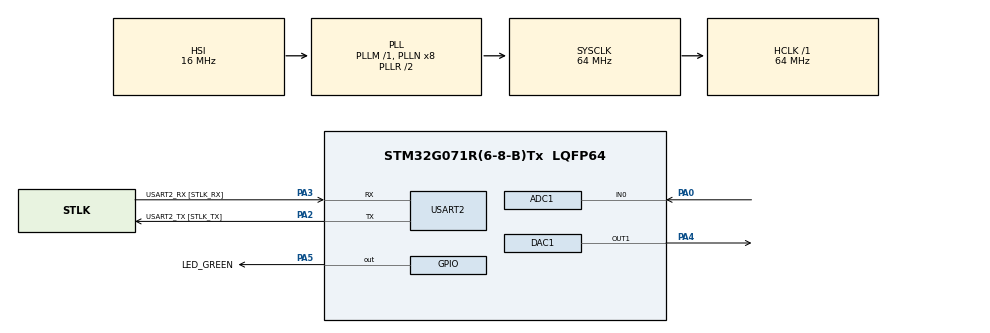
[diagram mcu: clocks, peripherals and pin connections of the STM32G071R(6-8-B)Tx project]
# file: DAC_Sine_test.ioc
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ADC1.Channel-0\#ChannelRegularConversion=ADC_CHANNEL_0
ADC1.ContinuousConvMode=DISABLE
ADC1.DMAContinuousRequests=ENABLE
ADC1.ExternalTrigConv=ADC_EXTERNALTRIG_T2_TRGO
ADC1.NbrOfConversionFlag=1
ADC1.Rank-0\#ChannelRegularConversion=1
ADC1.SamplingTime-0\#ChannelRegularConversion=ADC_SAMPLINGTIME_COMMON_1
ADC1.SamplingTimeCommon1=ADC_SAMPLETIME_160CYCLES_5
ADC1.SelectedChannel=ADC_CHANNEL_0
ADC1.master=1
DAC1.DAC_Channel-DAC_OUT1=DAC_CHANNEL_1
DAC1.DAC_Trigger-DAC_OUT1=DAC_TRIGGER_T2_TRGO
Dma.ADC1.1.Direction=DMA_PERIPH_TO_MEMORY
Dma.ADC1.1.EventEnable=DISABLE
Dma.ADC1.1.Instance=DMA1_Channel2
Dma.ADC1.1.MemDataAlignment=DMA_MDATAALIGN_HALFWORD
Dma.ADC1.1.MemInc=DMA_MINC_ENABLE
Dma.ADC1.1.Mode=DMA_CIRCULAR
Dma.ADC1.1.PeriphDataAlignment=DMA_PDATAALIGN_HALFWORD
Dma.ADC1.1.PeriphInc=DMA_PINC_DISABLE
Dma.ADC1.1.Polarity=HAL_DMAMUX_REQ_GEN_RISING
Dma.ADC1.1.Priority=DMA_PRIORITY_HIGH
Dma.ADC1.1.RequestNumber=1
Dma.ADC1.1.SignalID=NONE
Dma.ADC1.1.SyncEnable=DISABLE
Dma.ADC1.1.SyncPolarity=HAL_DMAMUX_SYNC_NO_EVENT
Dma.ADC1.1.SyncRequestNumber=1
Dma.ADC1.1.SyncSignalID=NONE
Dma.DAC1_CH1.0.Direction=DMA_MEMORY_TO_PERIPH
Dma.DAC1_CH1.0.EventEnable=DISABLE
Dma.DAC1_CH1.0.Instance=DMA1_Channel1
Dma.DAC1_CH1.0.MemDataAlignment=DMA_MDATAALIGN_HALFWORD
Dma.DAC1_CH1.0.MemInc=DMA_MINC_ENABLE
Dma.DAC1_CH1.0.Mode=DMA_CIRCULAR
Dma.DAC1_CH1.0.PeriphDataAlignment=DMA_PDATAALIGN_HALFWORD
Dma.DAC1_CH1.0.PeriphInc=DMA_PINC_DISABLE
Dma.DAC1_CH1.0.Polarity=HAL_DMAMUX_REQ_GEN_RISING
Dma.DAC1_CH1.0.Priority=DMA_PRIORITY_VERY_HIGH
Dma.DAC1_CH1.0.RequestNumber=1
Dma.DAC1_CH1.0.SignalID=NONE
Dma.DAC1_CH1.0.SyncEnable=DISABLE
Dma.DAC1_CH1.0.SyncPolarity=HAL_DMAMUX_SYNC_NO_EVENT
Dma.DAC1_CH1.0.SyncRequestNumber=1
Dma.DAC1_CH1.0.SyncSignalID=NONE
Dma.Request0=DAC1_CH1
Dma.Request1=ADC1
Mcu.Family=STM32G0
Mcu.Name=STM32G071R(6-8-B)Tx
Mcu.Package=LQFP64
NVIC.DMA1_Channel1_IRQn=true\:0\:0\:false\:false\:true\:false\:true\:true
NVIC.DMA1_Channel2_3_IRQn=true\:0\:0\:false\:false\:true\:false\:true\:true
PA0.Mode=IN0
PA0.Signal=ADC1_IN0
PA13.GPIO_Label=TMS
PA13.Mode=Serial_Wire
PA13.Signal=SYS_SWDIO
PA14-BOOT0.GPIO_Label=TCK
PA14-BOOT0.Mode=Serial_Wire
PA14-BOOT0.Signal=SYS_SWCLK
PA2.GPIO_Label=USART2_TX [STLK_TX]
PA2.GPIO_PuPd=GPIO_PULLUP
PA2.Mode=Asynchronous
PA2.Signal=USART2_TX
PA3.GPIO_Label=USART2_RX [STLK_RX]
PA3.GPIO_PuPd=GPIO_PULLUP
PA3.Mode=Asynchronous
PA3.Signal=USART2_RX
PA4.Signal=COMP_DAC11_group
PA5.GPIO_Label=LED_GREEN
PA5.GPIO_Speed=GPIO_SPEED_FREQ_HIGH
PA5.Signal=GPIO_Output
PC13.Mode=SYS_WakeUp1
PC13.Signal=SYS_WKUP2
PC14-OSC32_IN\ (PC14).Mode=LSE-External-Oscillator
PC14-OSC32_IN\ (PC14).Signal=RCC_OSC32_IN
PC15-OSC32_OUT\ (PC15).Mode=LSE-External-Oscillator
PC15-OSC32_OUT\ (PC15).Signal=RCC_OSC32_OUT
PF0-OSC_IN\ (PF0).GPIO_Label=MCO
PF0-OSC_IN\ (PF0).Mode=HSE-External-Oscillator
PF0-OSC_IN\ (PF0).Signal=RCC_OSC_IN
PF1-OSC_OUT\ (PF1).Mode=HSE-External-Oscillator
PF1-OSC_OUT\ (PF1).Signal=RCC_OSC_OUT
ProjectManager.HeapSize=0x200
ProjectManager.StackSize=0x400
ProjectManager.TargetToolchain=STM32CubeIDE
RCC.ADCFreq_Value=64000000
RCC.AHBFreq_Value=64000000
RCC.CortexFreq_Value=64000000
RCC.EXTERNAL_CLOCK_VALUE=12288000
RCC.HCLKFreq_Value=64000000
RCC.HSE_VALUE=8000000
RCC.HSI_VALUE=16000000
RCC.SYSCLKFreq_VALUE=64000000
RCC.SYSCLKSource=RCC_SYSCLKSOURCE_PLLCLK
RCC.VCOOutputFreq_Value=128000000
SH.COMP_DAC11_group.0=DAC1_OUT1,DAC_OUT1
TIM2.AutoReloadPreload=TIM_AUTORELOAD_PRELOAD_ENABLE
TIM2.Period=9999
TIM2.Prescaler=63
TIM2.TIM_MasterOutputTrigger=TIM_TRGO_UPDATE
USART2.VirtualMode-Asynchronous=VM_ASYNC
VP_TIM2_VS_ClockSourceINT.Mode=Internal
board=NUCLEO-G071RB

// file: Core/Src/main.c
/* USER CODE BEGIN Header */
/**
  ******************************************************************************
  * @file           : main.c
  * @brief          : Main program body
  ******************************************************************************
  * @attention
  *
  * Copyright (c) 2026 STMicroelectronics.
  * All rights reserved.
  *
  * This software is licensed under terms that can be found in the LICENSE file
  * in the root directory of this software component.
  * If no LICENSE file comes with this software, it is provided AS-IS.
  *
  ******************************************************************************
  */
/* USER CODE END Header */
#include "main.h"

/* USER CODE BEGIN Includes */
#include "math.h"
/* USER CODE END Includes */

ADC_HandleTypeDef hadc1;
DMA_HandleTypeDef hdma_adc1;

DAC_HandleTypeDef hdac1;
DMA_HandleTypeDef hdma_dac1_ch1;

TIM_HandleTypeDef htim2;

UART_HandleTypeDef huart2;

/* USER CODE BEGIN PV */

uint16_t sine_val[100];

 volatile uint16_t adc_val=0;
#define PI 3.1415926

void sine_wave(){
	for(int i=0;i<100;i++){
		sine_val[i]=((sin(i*((2*PI)/100))+1)*((3000)/2)+100);

	}
}

//FOR FILTERING

float alpha=0.01;
//uint16_t previous_adc_val=0;
float previous_out=0.0;
float out=0.0;

/* USER CODE END PV */

void SystemClock_Config(void);
static void MX_GPIO_Init(void);
static void MX_DMA_Init(void);
static void MX_USART2_UART_Init(void);
static void MX_DAC1_Init(void);
static void MX_ADC1_Init(void);
static void MX_TIM2_Init(void);

int main(void)
{

  /* MCU Configuration--------------------------------------------------------*/

  /* Reset of all peripherals, Initializes the Flash interface and the Systick. */
  HAL_Init();

  /* Configure the system clock */
  SystemClock_Config();

  /* Initialize all configured peripherals */
  MX_GPIO_Init();
  MX_DMA_Init();
  MX_USART2_UART_Init();
  MX_DAC1_Init();
  MX_ADC1_Init();
  MX_TIM2_Init();
  /* USER CODE BEGIN 2 */

  sine_wave();
  HAL_ADC_Start_DMA(&hadc1,(uint32_t*)&adc_val,1);
  HAL_DAC_Start_DMA(&hdac1,DAC_CHANNEL_1,(uint32_t*) sine_val, 100, DAC_ALIGN_12B_R);

  HAL_TIM_Base_Start(&htim2);

  /* USER CODE END 2 */

  /* Infinite loop */
  while (1)
  {

  }
}

void SystemClock_Config(void)
{
  RCC_OscInitTypeDef RCC_OscInitStruct = {0};
  RCC_ClkInitTypeDef RCC_ClkInitStruct = {0};

  /** Configure the main internal regulator output voltage
  */
  HAL_PWREx_ControlVoltageScaling(PWR_REGULATOR_VOLTAGE_SCALE1);

  /** Initializes the RCC Oscillators according to the specified parameters
  * in the RCC_OscInitTypeDef structure.
  */
  RCC_OscInitStruct.OscillatorType = RCC_OSCILLATORTYPE_HSI;
  RCC_OscInitStruct.HSIState = RCC_HSI_ON;
  RCC_OscInitStruct.HSIDiv = RCC_HSI_DIV1;
  RCC_OscInitStruct.HSICalibrationValue = RCC_HSICALIBRATION_DEFAULT;
  RCC_OscInitStruct.PLL.PLLState = RCC_PLL_ON;
  RCC_OscInitStruct.PLL.PLLSource = RCC_PLLSOURCE_HSI;
  RCC_OscInitStruct.PLL.PLLM = RCC_PLLM_DIV1;
  RCC_OscInitStruct.PLL.PLLN = 8;
  RCC_OscInitStruct.PLL.PLLP = RCC_PLLP_DIV2;
  RCC_OscInitStruct.PLL.PLLQ = RCC_PLLQ_DIV2;
  RCC_OscInitStruct.PLL.PLLR = RCC_PLLR_DIV2;
  if (HAL_RCC_OscConfig(&RCC_OscInitStruct) != HAL_OK)
  {
    Error_Handler();
  }

  /** Initializes the CPU, AHB and APB buses clocks
  */
  RCC_ClkInitStruct.ClockType = RCC_CLOCKTYPE_HCLK|RCC_CLOCKTYPE_SYSCLK
                              |RCC_CLOCKTYPE_PCLK1;
  RCC_ClkInitStruct.SYSCLKSource = RCC_SYSCLKSOURCE_PLLCLK;
  RCC_ClkInitStruct.AHBCLKDivider = RCC_SYSCLK_DIV1;
  RCC_ClkInitStruct.APB1CLKDivider = RCC_HCLK_DIV1;

  if (HAL_RCC_ClockConfig(&RCC_ClkInitStruct, FLASH_LATENCY_2) != HAL_OK)
  {
    Error_Handler();
  }
}

static void MX_ADC1_Init(void)
{

  ADC_ChannelConfTypeDef sConfig = {0};

  /** Configure the global features of the ADC (Clock, Resolution, Data Alignment and number of conversion)
  */
  hadc1.Instance = ADC1;
  hadc1.Init.ClockPrescaler = ADC_CLOCK_SYNC_PCLK_DIV2;
  hadc1.Init.Resolution = ADC_RESOLUTION_12B;
  hadc1.Init.DataAlign = ADC_DATAALIGN_RIGHT;
  hadc1.Init.ScanConvMode = ADC_SCAN_DISABLE;
  hadc1.Init.EOCSelection = ADC_EOC_SINGLE_CONV;
  hadc1.Init.LowPowerAutoWait = DISABLE;
  hadc1.Init.LowPowerAutoPowerOff = DISABLE;
  hadc1.Init.ContinuousConvMode = DISABLE;
  hadc1.Init.NbrOfConversion = 1;
  hadc1.Init.DiscontinuousConvMode = DISABLE;
  hadc1.Init.ExternalTrigConv = ADC_EXTERNALTRIG_T2_TRGO;
  hadc1.Init.ExternalTrigConvEdge = ADC_EXTERNALTRIGCONVEDGE_RISING;
  hadc1.Init.DMAContinuousRequests = ENABLE;
  hadc1.Init.Overrun = ADC_OVR_DATA_PRESERVED;
  hadc1.Init.SamplingTimeCommon1 = ADC_SAMPLETIME_160CYCLES_5;
  hadc1.Init.SamplingTimeCommon2 = ADC_SAMPLETIME_1CYCLE_5;
  hadc1.Init.OversamplingMode = DISABLE;
  hadc1.Init.TriggerFrequencyMode = ADC_TRIGGER_FREQ_HIGH;
  if (HAL_ADC_Init(&hadc1) != HAL_OK)
  {
    Error_Handler();
  }

  /** Configure Regular Channel
  */
  sConfig.Channel = ADC_CHANNEL_0;
  sConfig.Rank = ADC_REGULAR_RANK_1;
  sConfig.SamplingTime = ADC_SAMPLINGTIME_COMMON_1;
  if (HAL_ADC_ConfigChannel(&hadc1, &sConfig) != HAL_OK)
  {
    Error_Handler();
  }

}

static void MX_DAC1_Init(void)
{

  DAC_ChannelConfTypeDef sConfig = {0};

  /** DAC Initialization
  */
  hdac1.Instance = DAC1;
  if (HAL_DAC_Init(&hdac1) != HAL_OK)
  {
    Error_Handler();
  }

  /** DAC channel OUT1 config
  */
  sConfig.DAC_SampleAndHold = DAC_SAMPLEANDHOLD_DISABLE;
  sConfig.DAC_Trigger = DAC_TRIGGER_T2_TRGO;
  sConfig.DAC_OutputBuffer = DAC_OUTPUTBUFFER_ENABLE;
  sConfig.DAC_ConnectOnChipPeripheral = DAC_CHIPCONNECT_DISABLE;
  sConfig.DAC_UserTrimming = DAC_TRIMMING_FACTORY;
  if (HAL_DAC_ConfigChannel(&hdac1, &sConfig, DAC_CHANNEL_1) != HAL_OK)
  {
    Error_Handler();
  }

}

static void MX_TIM2_Init(void)
{

  TIM_ClockConfigTypeDef sClockSourceConfig = {0};
  TIM_MasterConfigTypeDef sMasterConfig = {0};

  htim2.Instance = TIM2;
  htim2.Init.Prescaler = 63;
  htim2.Init.CounterMode = TIM_COUNTERMODE_UP;
  htim2.Init.Period = 9999;
  htim2.Init.ClockDivision = TIM_CLOCKDIVISION_DIV1;
  htim2.Init.AutoReloadPreload = TIM_AUTORELOAD_PRELOAD_ENABLE;
  if (HAL_TIM_Base_Init(&htim2) != HAL_OK)
  {
    Error_Handler();
  }
  sClockSourceConfig.ClockSource = TIM_CLOCKSOURCE_INTERNAL;
  if (HAL_TIM_ConfigClockSource(&htim2, &sClockSourceConfig) != HAL_OK)
  {
    Error_Handler();
  }
  sMasterConfig.MasterOutputTrigger = TIM_TRGO_UPDATE;
  sMasterConfig.MasterSlaveMode = TIM_MASTERSLAVEMODE_DISABLE;
  if (HAL_TIMEx_MasterConfigSynchronization(&htim2, &sMasterConfig) != HAL_OK)
  {
    Error_Handler();
  }

}

static void MX_USART2_UART_Init(void)
{

  huart2.Instance = USART2;
  huart2.Init.BaudRate = 115200;
  huart2.Init.WordLength = UART_WORDLENGTH_8B;
  huart2.Init.StopBits = UART_STOPBITS_1;
  huart2.Init.Parity = UART_PARITY_NONE;
  huart2.Init.Mode = UART_MODE_TX_RX;
  huart2.Init.HwFlowCtl = UART_HWCONTROL_NONE;
  huart2.Init.OverSampling = UART_OVERSAMPLING_16;
  huart2.Init.OneBitSampling = UART_ONE_BIT_SAMPLE_DISABLE;
  huart2.Init.ClockPrescaler = UART_PRESCALER_DIV1;
  huart2.AdvancedInit.AdvFeatureInit = UART_ADVFEATURE_NO_INIT;
  if (HAL_UART_Init(&huart2) != HAL_OK)
  {
    Error_Handler();
  }
  if (HAL_UARTEx_SetTxFifoThreshold(&huart2, UART_TXFIFO_THRESHOLD_1_8) != HAL_OK)
  {
    Error_Handler();
  }
  if (HAL_UARTEx_SetRxFifoThreshold(&huart2, UART_RXFIFO_THRESHOLD_1_8) != HAL_OK)
  {
    Error_Handler();
  }
  if (HAL_UARTEx_DisableFifoMode(&huart2) != HAL_OK)
  {
    Error_Handler();
  }

}

static void MX_DMA_Init(void)
{

  /* DMA controller clock enable */
  __HAL_RCC_DMA1_CLK_ENABLE();

  /* DMA interrupt init */
  /* DMA1_Channel1_IRQn interrupt configuration */
  HAL_NVIC_SetPriority(DMA1_Channel1_IRQn, 0, 0);
  HAL_NVIC_EnableIRQ(DMA1_Channel1_IRQn);
  /* DMA1_Channel2_3_IRQn interrupt configuration */
  HAL_NVIC_SetPriority(DMA1_Channel2_3_IRQn, 0, 0);
  HAL_NVIC_EnableIRQ(DMA1_Channel2_3_IRQn);

}

static void MX_GPIO_Init(void)
{
  GPIO_InitTypeDef GPIO_InitStruct = {0};

  /* GPIO Ports Clock Enable */
  __HAL_RCC_GPIOC_CLK_ENABLE();
  __HAL_RCC_GPIOF_CLK_ENABLE();
  __HAL_RCC_GPIOA_CLK_ENABLE();

  /*Configure GPIO pin Output Level */
  HAL_GPIO_WritePin(LED_GREEN_GPIO_Port, LED_GREEN_Pin, GPIO_PIN_RESET);

  /*Configure GPIO pin : LED_GREEN_Pin */
  GPIO_InitStruct.Pin = LED_GREEN_Pin;
  GPIO_InitStruct.Mode = GPIO_MODE_OUTPUT_PP;
  GPIO_InitStruct.Pull = GPIO_NOPULL;
  GPIO_InitStruct.Speed = GPIO_SPEED_FREQ_HIGH;
  HAL_GPIO_Init(LED_GREEN_GPIO_Port, &GPIO_InitStruct);

}

/* USER CODE BEGIN 4 */
void HAL_ADC_ConvCpltCallback(ADC_HandleTypeDef *hadc){

	out=alpha*adc_val+(1.0-alpha)*(previous_out);
	previous_out=out;

}
/* USER CODE END 4 */

void Error_Handler(void)
{
  __disable_irq();
  while (1)
  {
  }
}
